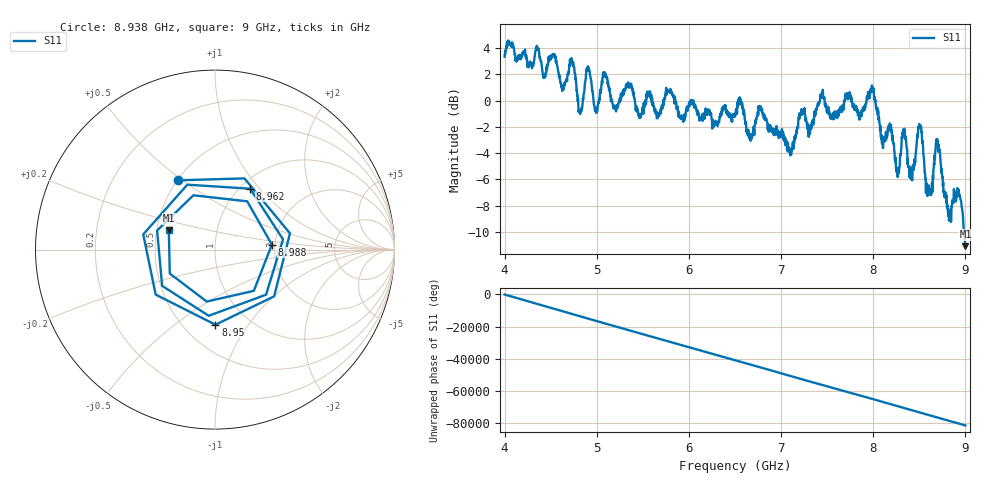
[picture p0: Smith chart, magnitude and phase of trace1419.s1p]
! Created with skrf 1.8.0 (http://scikit-rf.org).
# Hz S RI R 50.0
!freq ReS11 ImS11
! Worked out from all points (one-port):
!   1601 points, 4 GHz to 9 GHz, reference 50 ohm
!   lowest |S11| = -11.1 dB at 9 GHz (marker M1), VSWR 1.77, Z = 29 + j6.75 ohm
!   |S11| at or under -10 dB: 8.990195 GHz to end of sweep
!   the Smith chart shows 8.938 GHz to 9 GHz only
!   S11 on the Smith chart (normalised r, x): 8.938 GHz: 0.51, +0.48; 8.95 GHz: 0.70, -0.72; 8.962 GHz: 1.11, +0.89; 8.988 GHz: 1.92, +0.12; 9 GHz: 0.58, +0.14
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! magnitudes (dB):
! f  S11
! 4 GHz  3.3
! 4.528 GHz  3.5
! 4.625 GHz  0.7
! 4.728 GHz  3.0
! 4.819 GHz  -1.0
! 4.906 GHz  2.6
! 4.991 GHz  -0.8
! 5.088 GHz  2.1
! 5.25 GHz  -0.1
! 5.875 GHz  -0.6
! 6.5 GHz  -1.2
! 7.125 GHz  -3.2
! 7.228 GHz  -1.1
! 7.75 GHz  0.2
! 7.991 GHz  1.0
! 8.259 GHz  -5.2
! 8.331 GHz  -2.6
! 8.375 GHz  -4.4
! 8.428 GHz  -5.1
! 8.503 GHz  -2.0
! 8.597 GHz  -7.0
! 8.697 GHz  -3.0
! 8.819 GHz  -8.3
! 8.938 GHz  -7.2
! 8.95 GHz  -7.6
! 8.962 GHz  -8.1
! 8.988 GHz  -10.0
! 9 GHz  -11.1
